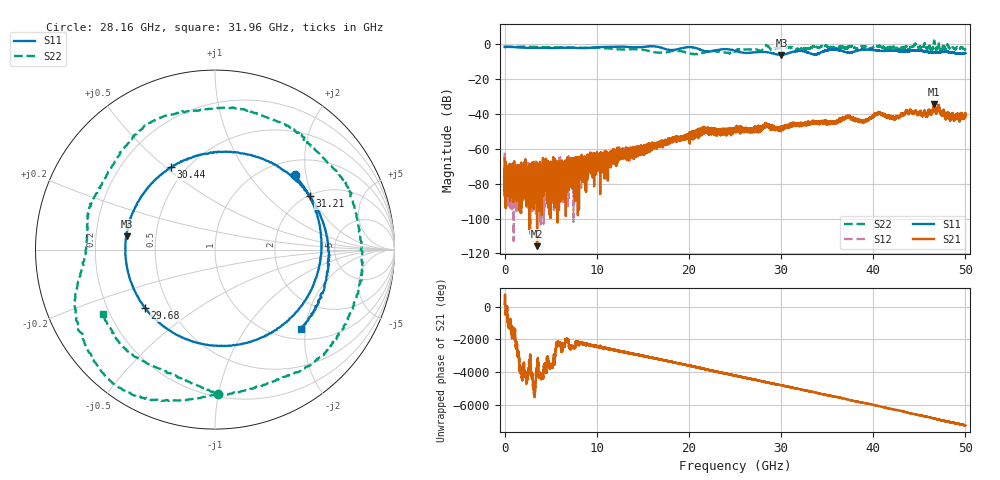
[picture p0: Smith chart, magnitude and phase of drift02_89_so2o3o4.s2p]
!Created with skrf (http://scikit-rf.org).
# Hz S RI R 50.0
!freq ReS11 ImS11 ReS21 ImS21 ReS12 ImS12 ReS22 ImS22
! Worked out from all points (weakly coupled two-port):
!   10001 points, 300 kHz to 50 GHz, reference 50 ohm
!   highest |S21| = -34.48 dB at 46.6 GHz (marker M1); lowest = -115.8 dB at 3.525 GHz (marker M2)
!   lowest |S11| = -6.1 dB at 30.04 GHz (marker M3), VSWR 2.99, Z = 16.8 + j3.36 ohm
!   |S11| at or under -10 dB: nowhere
!   |S22| runs from -5.7 to 2.3 dB; largest |S21 - S12| = 0.0029
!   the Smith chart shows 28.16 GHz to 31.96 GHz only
!   S11 on the Smith chart (normalised r, x): 28.16 GHz: 1.32, +1.72; 29.68 GHz: 0.36, -0.32; 30.44 GHz: 0.41, +0.52; 31.21 GHz: 2.02, +1.91; 31.96 GHz: 1.22, -1.89
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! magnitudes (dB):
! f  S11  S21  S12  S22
! 300 kHz  -1.3  -65.2  -62.1  -2.1
! 255.3 MHz  -1.4  -78.8  -73.3  -1.4
! 3.525 GHz  -2.0  -115.8  -78.3  -1.5
! 6.335 GHz  -1.9  -73.9  -72.3  -1.8
! 8.335 GHz  -2.2  -68.0  -67.6  -1.9
! 16.67 GHz  -1.4  -56.5  -57.6  -4.7
! 21.66 GHz  -3.8  -50.8  -49.7  -4.7
! 25 GHz  -3.7  -48.7  -48.5  -3.9
! 28.16 GHz  -4.3  -46.5  -47.2  -1.9
! 29.68 GHz  -5.9  -47.5  -48.0  -2.1
! 30.04 GHz  -6.1  -47.3  -47.5  -2.0
! 30.44 GHz  -5.7  -48.0  -47.1  -1.7
! 31.21 GHz  -4.4  -46.6  -46.1  -1.7
! 31.96 GHz  -3.7  -46.2  -46.3  -2.9
! 33.34 GHz  -5.5  -44.3  -44.9  -1.5
! 37.28 GHz  -4.7  -41.3  -41.7  -1.4
! 38.92 GHz  -3.0  -44.1  -44.3  -1.5
! 40.6 GHz  -3.6  -39.3  -39.1  -1.0
! 41.67 GHz  -3.7  -40.9  -41.0  -2.0
! 46.6 GHz  -4.7  -34.5  -34.6  1.9
! 48.56 GHz  -4.7  -40.8  -40.9  -1.7
! 50 GHz  -4.9  -39.8  -40.3  -2.7
